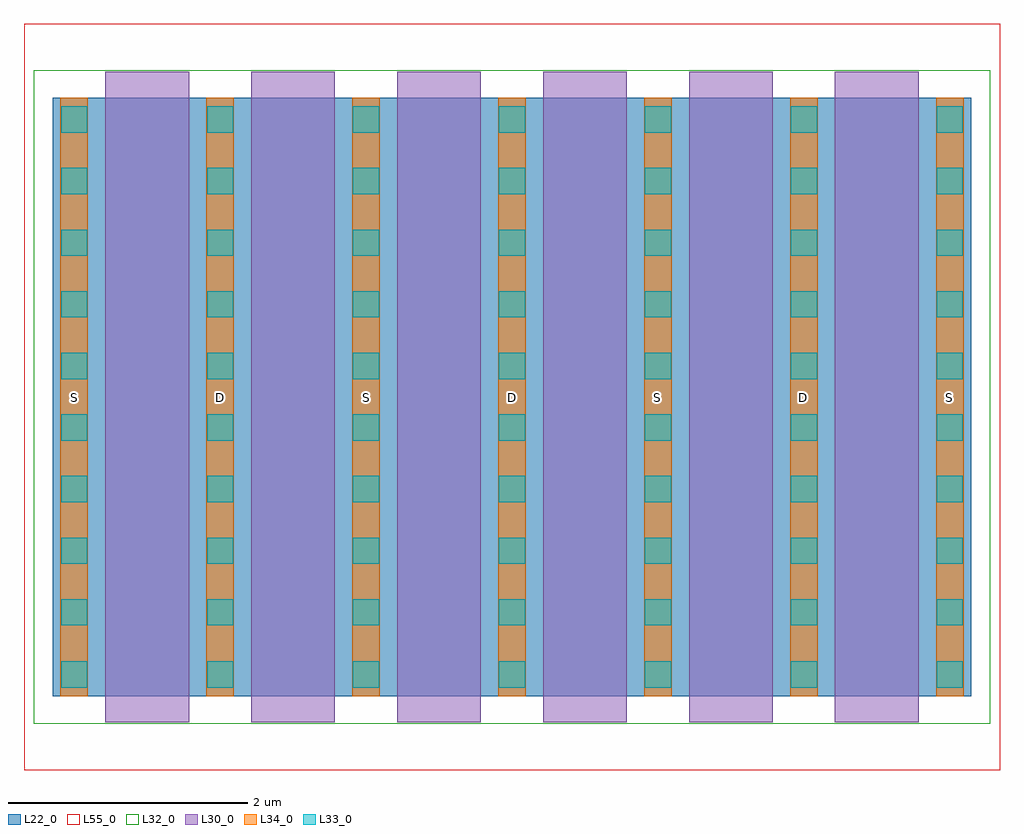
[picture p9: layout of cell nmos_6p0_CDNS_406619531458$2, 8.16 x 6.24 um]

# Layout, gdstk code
import gdstk
lib = gdstk.Library(unit=1e-6, precision=1e-09)
def R(c, l, rs):  # rectangles x0, y0, x1, y1
    for r in rs: c.add(gdstk.rectangle(r[:2], r[2:], *l))
def A(c, l, x, y, w, h, nx, ny, dx, dy):  # array of equal rectangles
    R(c, l, [(x+i*dx, y+j*dy, x+i*dx+w, y+j*dy+h) for i in range(nx) for j in range(ny)])
L22_0 = (22, 0)
L30_0 = (30, 0)
L32_0 = (32, 0)
L33_0 = (33, 0)
L34_0 = (34, 0)
L55_0 = (55, 0)

nmos_6p0_cdns_4066195314 = lib.new_cell('nmos_6p0_CDNS_406619531458$2')
A(nmos_6p0_cdns_4066195314, L22_0, -0.44, 0, 0.36, 5, 7, 1, 1.22, 0)
R(nmos_6p0_cdns_4066195314, L22_0, [(-0.44,0,7.24,5)])
A(nmos_6p0_cdns_4066195314, L30_0, 0, -0.22, 0.7, 5.44, 6, 1, 1.22, 0)
A(nmos_6p0_cdns_4066195314, L30_0, 0, 5, 0.7, 0.22, 6, 1, 1.22, 0)
R(nmos_6p0_cdns_4066195314, L32_0, [(-0.6,-0.23,7.4,5.23)])
A(nmos_6p0_cdns_4066195314, L33_0, -0.37, 0.07, 0.22, 0.22, 7, 2, 1.22, 0.52)
A(nmos_6p0_cdns_4066195314, L33_0, -0.37, 1.105, 0.22, 0.22, 7, 8, 1.22, 0.515)
R(nmos_6p0_cdns_4066195314, L34_0, [(-0.375,0,-0.145,5), (-0.375,0,-0.145,5), (0.845,0,1.075,5), (0.845,0,1.075,5), (2.065,0,2.295,5), (2.065,0,2.295,5), (3.285,0,3.515,5), (3.285,0,3.515,5), (4.505,0,4.735,5), (4.505,0,4.735,5), (5.725,0,5.955,5), (5.725,0,5.955,5), (6.945,0,7.175,5), (6.945,0,7.175,5)])
R(nmos_6p0_cdns_4066195314, L55_0, [(-0.68,-0.62,7.48,5.62)])
nmos_6p0_cdns_4066195314.add(gdstk.Label('S', (-0.26,2.5), layer=34, texttype=0))
nmos_6p0_cdns_4066195314.add(gdstk.Label('S', (7.06,2.5), layer=34, texttype=0))
nmos_6p0_cdns_4066195314.add(gdstk.Label('D', (0.96,2.5), layer=34, texttype=0))
nmos_6p0_cdns_4066195314.add(gdstk.Label('S', (2.18,2.5), layer=34, texttype=0))
nmos_6p0_cdns_4066195314.add(gdstk.Label('D', (3.4,2.5), layer=34, texttype=0))
nmos_6p0_cdns_4066195314.add(gdstk.Label('S', (4.62,2.5), layer=34, texttype=0))
nmos_6p0_cdns_4066195314.add(gdstk.Label('D', (5.84,2.5), layer=34, texttype=0))

lib.write_gds('nmos_6p0_CDNS_406619531458_2.gds')
